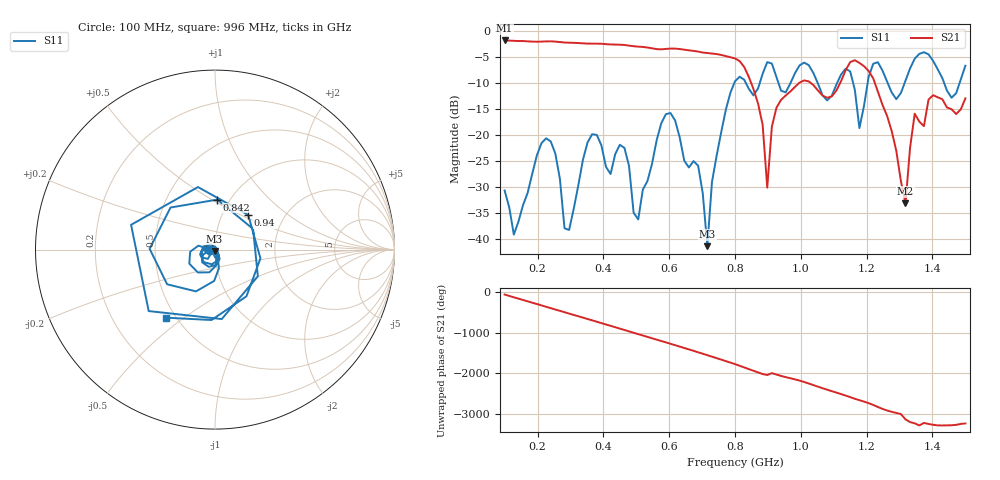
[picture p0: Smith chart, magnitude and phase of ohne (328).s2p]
! NanoVNA-App
! Date: 2025-09-25 14:23:21
! Start: 100MHz Stop: 1,5GHz Points: 101
! S-Parameter data: F S11 S21 S12 S22
# Hz S RI R 50
!  Frequency  S11_Real  S11_Imag  S21_Real  S21_Imag  S12_Real  S12_Imag  S22_Real  S22_Imag
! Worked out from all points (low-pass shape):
!   101 points, 100 MHz to 1.5 GHz, reference 50 ohm
!   highest |S21| = -1.79 dB at 100 MHz (marker M1); lowest = -33.1 dB at 1.318 GHz (marker M2)
!   |S21| within 3 dB of the highest: start of sweep to 771.5 MHz
!   lowest |S11| = -41.3 dB at 716 MHz (marker M3), VSWR 1.02, Z = 49.8 - j0.818 ohm
!   |S11| at or under -10 dB: start of sweep to 797.8 MHz; 833.3 MHz to 875.1 MHz (41.82 MHz wide, 4.9 % of centre); 1.052 GHz to 1.11 GHz (58.58 MHz wide, 5.42 % of centre) (the widest 3 of 7)
!   S12 and S22 are empty: the file has one direction only
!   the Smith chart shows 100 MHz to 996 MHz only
!   S11 on the Smith chart (normalised r, x): 100 MHz: 0.94, -0.01; 842 MHz: 0.88, +0.53; 940 MHz: 1.32, +0.55; 996 MHz: 0.44, -0.43
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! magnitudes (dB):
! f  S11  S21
! 100 MHz  -30.6  -1.8
! 128 MHz  -39.1  -1.9
! 226 MHz  -20.6  -2.0
! 296 MHz  -38.2  -2.2
! 338 MHz  -24.7  -2.3
! 464 MHz  -22.4  -2.7
! 506 MHz  -36.2  -3.0
! 576 MHz  -17.7  -3.5
! 688 MHz  -25.9  -3.9
! 716 MHz  -41.3  -4.2
! 800 MHz  -9.6  -5.2
! 842 MHz  -11.1  -8.8
! 898 MHz  -6.0  -30.1
! 940 MHz  -11.5  -13.2
! 996 MHz  -6.6  -9.9
! 1.038 GHz  -8.0  -10.4
! 1.164 GHz  -11.3  -5.6
! 1.178 GHz  -18.6  -6.1
! 1.276 GHz  -11.8  -19.2
! 1.318 GHz  -9.5  -33.1
! 1.346 GHz  -5.3  -15.9
! 1.5 GHz  -6.7  -12.9
